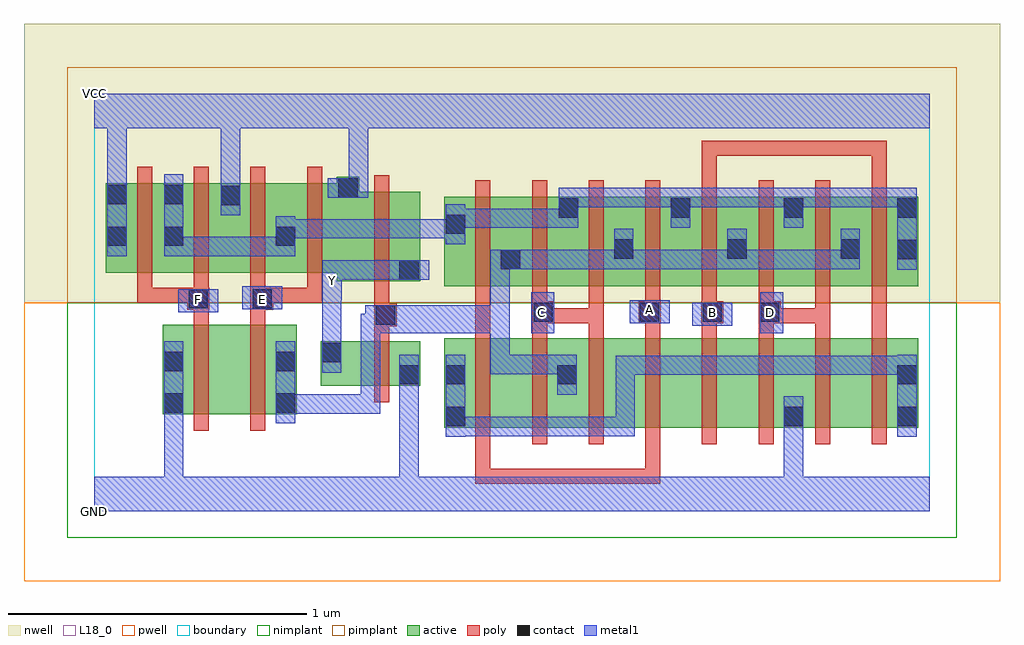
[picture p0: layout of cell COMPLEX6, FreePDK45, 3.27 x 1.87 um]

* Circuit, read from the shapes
.subckt COMPLEX6 A B C D E F GND VCC Y
M1 n1 F GND VSUBS nfet w=0.3u l=0.05u
M2 n2 E n1 VSUBS nfet w=0.3u l=0.05u
M3 GND n2 Y VSUBS nfet w=0.15u l=0.05u
M4 n3 A n4 VSUBS nfet w=0.3u l=0.05u
M5 n2 C n3 VSUBS nfet w=0.3u l=0.05u
M6 n5 C n2 VSUBS nfet w=0.3u l=0.05u
M7 n6 A n5 VSUBS nfet w=0.3u l=0.05u
M8 n7 B n6 VSUBS nfet w=0.3u l=0.05u
M9 GND D n7 VSUBS nfet w=0.3u l=0.05u
M10 n8 D GND VSUBS nfet w=0.3u l=0.05u
M11 n4 B n8 VSUBS nfet w=0.3u l=0.05u
M12 n9 F VCC n10 pfet w=0.3u l=0.05u m=2
M13 n9 E VCC n10 pfet w=0.3u l=0.05u m=2
M14 Y n2 VCC n10 pfet w=0.3u l=0.05u
M15 n2 A n9 n10 pfet w=0.3u l=0.05u m=2
M16 n9 C n2 n10 pfet w=0.3u l=0.05u m=2
M17 n2 B n9 n10 pfet w=0.3u l=0.05u m=2
M18 n9 D n2 n10 pfet w=0.3u l=0.05u m=2
.ends

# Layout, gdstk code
import gdstk
lib = gdstk.Library(unit=1e-6, precision=1e-09)
def R(c, l, rs):  # rectangles x0, y0, x1, y1
    for r in rs: c.add(gdstk.rectangle(r[:2], r[2:], *l))
def A(c, l, x, y, w, h, nx, ny, dx, dy):  # array of equal rectangles
    R(c, l, [(x+i*dx, y+j*dy, x+i*dx+w, y+j*dy+h) for i in range(nx) for j in range(ny)])
active = (1, 0)
pwell = (2, 0)
nwell = (3, 0)
nimplant = (4, 0)
pimplant = (5, 0)
poly = (9, 0)
contact = (10, 0)
metal1 = (11, 0)
L18_0 = (18, 0)
boundary = (235, 0)

complex6 = lib.new_cell('COMPLEX6')
A(complex6, active, 1.74, 0.755, 0.265, 0.3, 5, 1, 0.19, 0)
A(complex6, active, 1.93, 0.755, 0.075, 0.3, 3, 1, 0.38, 0)
A(complex6, active, 1.74, 0.842, 0.075, 0.213, 3, 1, 0.38, 0)
R(complex6, active, [(1.175,0.28,1.25,0.58), (1.175,0.28,1.4,0.58), (1.4,0.28,1.625,0.58), (1.55,0.28,1.78,0.58), (1.78,0.28,1.97,0.58), (1.97,0.28,2.16,0.58), (2.16,0.28,2.385,0.58), (2.31,0.28,2.54,0.58), (2.31,0.28,2.385,0.392), (2.54,0.28,2.765,0.58), (2.69,0.28,2.765,0.58), (0.23,0.325,0.305,0.625), (0.23,0.325,0.455,0.625), (0.455,0.325,0.68,0.625), (0.605,0.325,0.68,0.625), (1.55,0.33,1.625,0.58), (0.76,0.42,1.095,0.57), (1.02,0.42,1.095,0.57), (0.76,0.45,0.835,0.57), (1.175,0.755,1.25,1.055), (1.175,0.755,1.435,1.055), (1.36,0.755,1.63,1.055), (1.555,0.755,1.815,1.055), (0.815,0.772,1.095,1.072), (1.02,0.772,1.095,1.055), (0.04,0.8,0.115,1.1), (0.04,0.8,0.305,1.1), (0.23,0.8,0.305,1.1), (0.23,0.8,0.495,1.1), (0.42,0.8,0.68,1.1), (0.605,0.8,0.89,1.1), (1.36,0.807,1.435,1.055), (1.555,0.827,1.63,1.055), (0.605,0.877,0.68,1.1), (0.42,0.935,0.495,1.1), (0.815,1.007,0.89,1.122)])
R(complex6, pwell, [(-0.235,-0.235,3.04,0.7)])
R(complex6, nwell, [(-0.235,0.7,3.04,1.635)])
R(complex6, nimplant, [(-0.09,-0.09,2.895,0.7)])
R(complex6, pimplant, [(-0.09,0.7,2.895,1.49)])
A(complex6, poly, 1.28, 0.225, 0.05, 0.41, 8, 2, 0.19, 0.475)
A(complex6, poly, 1.28, 0.585, 0.05, 0.095, 8, 1, 0.19, 0)
A(complex6, poly, 1.85, 0.655, 0.05, 0.095, 3, 1, 0.19, 0)
A(complex6, poly, 0.145, 0.7, 0.05, 0.095, 4, 1, 0.19, 0)
A(complex6, poly, 0.145, 0.745, 0.05, 0.41, 4, 1, 0.19, 0)
R(complex6, poly, [(1.28,0.092,1.33,0.142), (1.28,0.092,1.33,0.142), (1.28,0.092,1.33,0.142), (1.28,0.092,1.462,0.142), (1.28,0.092,1.33,0.275), (1.412,0.092,1.462,0.142), (1.412,0.092,1.705,0.142), (1.655,0.092,1.705,0.142), (1.655,0.092,1.705,0.142), (1.655,0.092,1.705,0.142), (1.655,0.092,1.9,0.142), (1.85,0.092,1.9,0.142), (1.85,0.092,1.9,0.142), (1.85,0.092,1.9,0.142), (1.85,0.092,1.9,0.275), (0.335,0.27,0.385,0.68), (0.525,0.27,0.575,0.68), (0.94,0.365,0.99,0.625), (0.94,0.575,0.99,0.67), (0.94,0.62,1.015,0.695), (0.335,0.63,0.385,0.725), (0.525,0.63,0.575,0.725), (1.28,0.63,1.33,0.68), (1.28,0.63,1.33,0.75), (1.47,0.63,1.545,0.705), (1.495,0.63,1.71,0.68), (1.66,0.63,1.71,0.68), (1.66,0.63,1.71,0.68), (1.66,0.63,1.71,0.68), (1.66,0.63,1.71,0.75), (1.827,0.63,1.902,0.705), (2.037,0.63,2.112,0.705), (2.23,0.63,2.305,0.705), (2.255,0.63,2.47,0.68), (2.42,0.63,2.47,0.68), (2.42,0.63,2.47,0.68), (2.42,0.63,2.47,0.68), (2.42,0.63,2.47,0.75), (2.61,0.63,2.66,0.68), (2.61,0.63,2.66,0.75), (0.94,0.645,0.99,0.767), (1.47,0.655,1.52,0.75), (0.312,0.675,0.387,0.75), (0.525,0.675,0.602,0.75), (0.145,0.7,0.195,0.75), (0.145,0.7,0.362,0.75), (0.312,0.7,0.362,0.75), (0.312,0.7,0.362,0.75), (0.552,0.7,0.765,0.75), (0.715,0.7,0.765,0.75), (0.715,0.7,0.765,0.75), (0.715,0.7,0.765,0.75), (0.94,0.717,0.99,1.127), (2.04,1.06,2.09,1.242), (2.61,1.06,2.66,1.242), (2.04,1.192,2.09,1.242), (2.04,1.192,2.09,1.242), (2.04,1.192,2.09,1.242), (2.04,1.192,2.222,1.242), (2.172,1.192,2.222,1.242), (2.172,1.192,2.437,1.242), (2.387,1.192,2.437,1.242), (2.387,1.192,2.437,1.242), (2.387,1.192,2.437,1.242), (2.387,1.192,2.66,1.242), (2.61,1.192,2.66,1.242), (2.61,1.192,2.66,1.242), (2.61,1.192,2.66,1.242)])
A(complex6, contact, 1.745, 0.847, 0.065, 0.065, 3, 1, 0.38, 0)
A(complex6, contact, 1.935, 0.985, 0.065, 0.065, 3, 1, 0.38, 0)
R(complex6, contact, [(1.18,0.285,1.245,0.35), (2.315,0.285,2.38,0.35), (2.695,0.285,2.76,0.35), (0.235,0.33,0.3,0.395), (0.61,0.33,0.675,0.395), (1.025,0.425,1.09,0.49), (1.18,0.425,1.245,0.49), (1.555,0.425,1.62,0.49), (2.695,0.425,2.76,0.49), (0.235,0.47,0.3,0.535), (0.61,0.47,0.675,0.535), (0.765,0.5,0.83,0.565), (0.945,0.625,1.01,0.69), (1.475,0.635,1.54,0.7), (1.832,0.635,1.897,0.7), (2.042,0.635,2.107,0.7), (2.235,0.635,2.3,0.7), (0.317,0.68,0.382,0.745), (0.532,0.68,0.597,0.745), (1.025,0.777,1.09,0.842), (1.365,0.812,1.43,0.877), (2.695,0.845,2.76,0.91), (0.045,0.89,0.11,0.955), (0.235,0.89,0.3,0.955), (0.61,0.89,0.675,0.955), (1.18,0.93,1.245,0.995), (1.56,0.985,1.625,1.05), (0.425,1.027,0.49,1.092), (0.045,1.03,0.11,1.095), (0.235,1.03,0.3,1.095), (0.82,1.052,0.885,1.117)])
A(complex6, metal1, 1.555, 0.812, 0.255, 0.065, 3, 1, 0.19, 0)
A(complex6, metal1, 1.745, 0.812, 0.065, 0.135, 3, 1, 0.38, 0)
R(complex6, metal1, [(0,0,2.805,0.115), (0.235,0.05,0.3,0.115), (0.235,0.05,0.3,0.115), (0.235,0.05,0.3,0.36), (1.025,0.05,1.09,0.115), (1.025,0.05,1.09,0.115), (1.025,0.05,1.09,0.115), (1.025,0.05,1.09,0.115), (1.025,0.05,1.09,0.115), (1.025,0.05,1.09,0.115), (1.025,0.05,1.09,0.455), (2.315,0.05,2.38,0.115), (2.315,0.05,2.38,0.115), (2.315,0.05,2.38,0.315), (1.18,0.25,1.245,0.525), (2.315,0.25,2.38,0.315), (2.315,0.25,2.38,0.315), (2.315,0.25,2.38,0.385), (2.695,0.25,2.76,0.525), (1.18,0.252,1.245,0.317), (1.18,0.252,1.245,0.317), (1.18,0.252,1.465,0.317), (1.4,0.252,1.465,0.317), (1.4,0.252,1.465,0.317), (1.4,0.252,1.465,0.317), (1.4,0.252,1.602,0.317), (1.537,0.252,1.602,0.317), (1.537,0.252,1.602,0.317), (1.537,0.252,1.602,0.317), (1.537,0.252,1.815,0.317), (1.75,0.252,1.815,0.317), (1.75,0.252,1.815,0.522), (0.235,0.295,0.3,0.36), (0.235,0.295,0.3,0.36), (0.235,0.295,0.3,0.57), (0.61,0.295,0.675,0.57), (0.61,0.327,0.675,0.392), (0.61,0.327,0.675,0.392), (0.61,0.327,0.907,0.392), (0.842,0.327,0.907,0.392), (0.842,0.327,0.96,0.392), (0.895,0.327,0.96,0.392), (0.895,0.327,0.96,0.662), (1.025,0.39,1.09,0.525), (1.555,0.39,1.62,0.525), (1.75,0.457,1.815,0.522), (1.75,0.457,1.815,0.522), (1.75,0.457,1.815,0.522), (1.75,0.457,1.952,0.522), (1.887,0.457,1.952,0.522), (1.887,0.457,1.952,0.522), (1.887,0.457,1.952,0.522), (1.887,0.457,2.137,0.522), (2.072,0.457,2.137,0.522), (2.072,0.457,2.137,0.522), (2.072,0.457,2.137,0.522), (2.072,0.457,2.432,0.522), (2.367,0.457,2.432,0.522), (2.367,0.457,2.432,0.522), (2.367,0.457,2.432,0.522), (2.367,0.457,2.57,0.522), (2.505,0.457,2.57,0.522), (2.505,0.457,2.57,0.522), (2.505,0.457,2.57,0.522), (2.505,0.457,2.76,0.522), (1.33,0.46,1.395,0.525), (1.33,0.46,1.395,0.525), (1.33,0.46,1.62,0.525), (1.33,0.46,1.395,0.662), (0.765,0.465,0.83,0.6), (0.765,0.535,0.83,0.772), (0.895,0.597,0.96,0.662), (0.895,0.597,1.045,0.662), (0.98,0.597,1.045,0.662), (0.98,0.597,1.257,0.662), (0.98,0.597,1.045,0.69), (1.192,0.597,1.257,0.662), (1.192,0.597,1.257,0.662), (1.192,0.597,1.257,0.662), (1.192,0.597,1.395,0.662), (1.467,0.597,1.545,0.735), (2.235,0.597,2.312,0.735), (2.007,0.622,2.142,0.7), (0.91,0.625,1.045,0.69), (0.98,0.625,1.045,0.69), (0.98,0.625,1.045,0.69), (0.98,0.625,1.245,0.69), (1.18,0.625,1.245,0.69), (1.18,0.625,1.245,0.69), (1.18,0.625,1.245,0.69), (1.18,0.625,1.395,0.69), (1.33,0.625,1.395,0.69), (1.33,0.625,1.395,0.877), (1.797,0.63,1.932,0.707), (0.282,0.667,0.417,0.745), (0.497,0.677,0.632,0.755), (0.765,0.707,0.832,0.842), (0.767,0.777,0.832,0.842), (0.767,0.777,0.832,0.842), (0.767,0.777,0.832,0.842), (0.767,0.777,0.832,0.842), (0.767,0.777,1.055,0.842), (0.99,0.777,1.125,0.842), (2.695,0.81,2.76,1.085), (1.33,0.812,1.465,0.877), (1.4,0.812,1.465,0.877), (1.4,0.812,1.465,0.877), (1.4,0.812,1.62,0.877), (1.555,0.812,1.62,0.877), (1.555,0.812,1.62,0.877), (1.555,0.812,1.62,0.877), (1.745,0.812,1.81,0.877), (1.745,0.812,1.81,0.877), (1.935,0.812,2,0.877), (1.935,0.812,2,0.877), (1.935,0.812,2,0.877), (2.125,0.812,2.19,0.877), (2.125,0.812,2.19,0.877), (2.125,0.812,2.432,0.877), (2.367,0.812,2.432,0.877), (2.367,0.812,2.432,0.877), (2.367,0.812,2.432,0.877), (2.367,0.812,2.57,0.877), (0.045,0.855,0.11,1.13), (0.235,0.855,0.3,0.92), (0.235,0.855,0.3,0.92), (0.235,0.855,0.3,1.13), (0.235,0.855,0.537,0.92), (0.472,0.855,0.537,0.92), (0.472,0.855,0.537,0.92), (0.472,0.855,0.537,0.92), (0.472,0.855,0.675,0.92), (0.61,0.855,0.675,0.99), (1.18,0.895,1.245,1.03), (0.61,0.915,0.675,0.98), (0.61,0.915,0.675,0.98), (0.61,0.915,0.675,0.98), (0.61,0.915,0.812,0.98), (0.61,0.915,0.675,0.99), (0.747,0.915,0.812,0.98), (0.747,0.915,0.812,0.98), (0.747,0.915,0.812,0.98), (0.747,0.915,1.07,0.98), (1.005,0.915,1.07,0.98), (1.005,0.915,1.245,0.98), (1.18,0.95,1.245,1.015), (1.18,0.95,1.245,1.015), (1.18,0.95,1.395,1.015), (1.33,0.95,1.395,1.015), (1.33,0.95,1.395,1.015), (1.33,0.95,1.395,1.015), (1.33,0.95,1.625,1.015), (1.56,0.95,1.625,1.085), (1.935,0.95,2,1.085), (2.315,0.95,2.38,1.085), (0.425,0.992,0.49,1.127), (1.56,1.02,1.625,1.085), (1.56,1.02,1.625,1.085), (1.56,1.02,1.81,1.085), (1.745,1.02,1.81,1.085), (1.745,1.02,1.81,1.085), (1.745,1.02,1.81,1.085), (1.745,1.02,2,1.085), (1.935,1.02,2,1.085), (1.935,1.02,2,1.085), (1.935,1.02,2.137,1.085), (2.072,1.02,2.137,1.085), (2.072,1.02,2.137,1.085), (2.072,1.02,2.137,1.085), (2.072,1.02,2.38,1.085), (2.315,1.02,2.38,1.085), (2.315,1.02,2.38,1.085), (2.315,1.02,2.622,1.085), (2.557,1.02,2.622,1.085), (2.557,1.02,2.76,1.085), (2.695,1.02,2.76,1.085), (2.695,1.02,2.76,1.085), (0.785,1.052,0.92,1.117), (0.855,1.052,0.92,1.35), (0.425,1.062,0.49,1.127), (0.425,1.062,0.49,1.127), (0.425,1.062,0.49,1.35), (0.045,1.065,0.11,1.35), (0,1.285,2.805,1.4), (0.045,1.285,0.11,1.35), (0.045,1.285,0.11,1.35), (0.855,1.285,0.92,1.35), (0.855,1.285,0.92,1.35)])
R(complex6, L18_0, [(0,0,2.805,0.115), (0.235,0.05,0.3,0.115), (0.235,0.05,0.3,0.115), (0.235,0.05,0.3,0.36), (1.025,0.05,1.09,0.115), (1.025,0.05,1.09,0.115), (1.025,0.05,1.09,0.115), (1.025,0.05,1.09,0.115), (1.025,0.05,1.09,0.115), (1.025,0.05,1.09,0.115), (1.025,0.05,1.09,0.455), (2.315,0.05,2.38,0.115), (2.315,0.05,2.38,0.115), (2.315,0.05,2.38,0.315), (2.315,0.25,2.38,0.315), (2.315,0.25,2.38,0.315), (2.315,0.25,2.38,0.385), (0.235,0.295,0.3,0.57), (0.235,0.295,0.3,0.36), (0.235,0.295,0.3,0.36), (1.025,0.39,1.09,0.525), (0.765,0.465,0.83,0.6), (0.765,0.535,0.83,0.772), (1.467,0.597,1.545,0.735), (2.235,0.597,2.312,0.735), (2.007,0.622,2.142,0.7), (1.797,0.63,1.932,0.707), (1.467,0.632,1.532,0.697), (2.042,0.632,2.107,0.697), (2.237,0.632,2.302,0.697), (1.832,0.642,1.897,0.707), (0.282,0.667,0.417,0.745), (0.317,0.677,0.382,0.742), (0.497,0.677,0.632,0.755), (0.532,0.677,0.597,0.742), (0.765,0.707,0.832,0.842), (0.767,0.742,0.832,0.807), (0.767,0.777,0.832,0.842), (0.767,0.777,0.832,0.842), (0.767,0.777,0.832,0.842), (0.767,0.777,0.832,0.842), (0.767,0.777,1.055,0.842), (0.99,0.777,1.125,0.842), (0.045,0.855,0.11,1.13), (0.425,0.992,0.49,1.127), (0.785,1.052,0.92,1.117), (0.855,1.052,0.92,1.35), (0.425,1.062,0.49,1.127), (0.425,1.062,0.49,1.127), (0.425,1.062,0.49,1.35), (0.045,1.065,0.11,1.35), (0,1.285,2.805,1.4), (0.045,1.285,0.11,1.35), (0.045,1.285,0.11,1.35), (0.855,1.285,0.92,1.35), (0.855,1.285,0.92,1.35)])
R(complex6, boundary, [(0,0,2.805,1.4)])
complex6.add(gdstk.Label('A', (1.865,0.675), layer=11, texttype=0))
complex6.add(gdstk.Label('B', (2.075,0.665), layer=11, texttype=0))
complex6.add(gdstk.Label('C', (1.5,0.665), layer=11, texttype=0))
complex6.add(gdstk.Label('D', (2.27,0.665), layer=11, texttype=0))
complex6.add(gdstk.Label('E', (0.565,0.71), layer=11, texttype=0))
complex6.add(gdstk.Label('F', (0.35,0.71), layer=11, texttype=0))
complex6.add(gdstk.Label('Y', (0.8,0.775), layer=11, texttype=0))
complex6.add(gdstk.Label('VCC', (0,1.4), layer=11, texttype=0))
complex6.add(gdstk.Label('GND', (0,0), layer=11, texttype=0))

lib.write_gds('COMPLEX6.gds')
